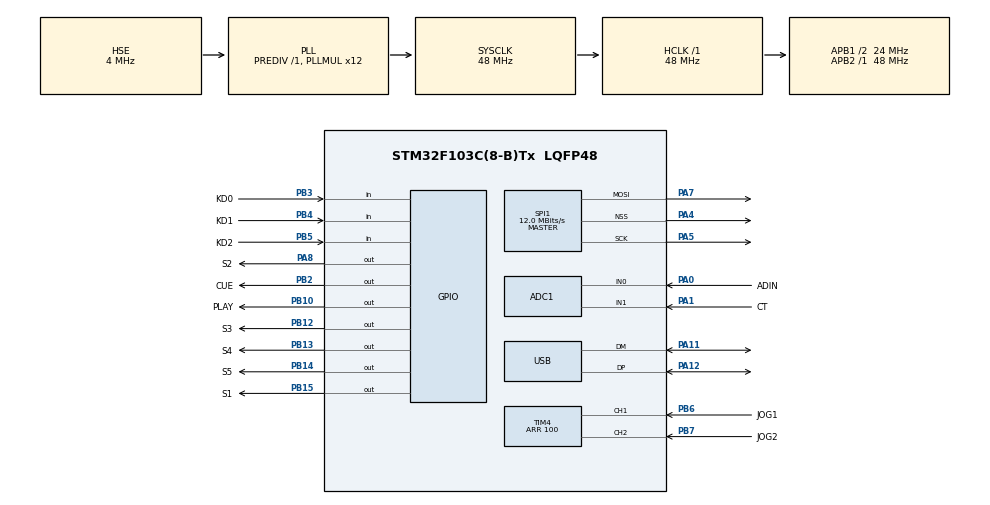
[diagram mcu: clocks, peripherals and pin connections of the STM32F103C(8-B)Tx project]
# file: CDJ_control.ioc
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ADC1.Channel-12\#ChannelRegularConversion=ADC_CHANNEL_0
ADC1.Channel-13\#ChannelRegularConversion=ADC_CHANNEL_1
ADC1.ContinuousConvMode=ENABLE
ADC1.DataAlign=ADC_DATAALIGN_RIGHT
ADC1.DiscontinuousConvMode=DISABLE
ADC1.EnableRegularConversion=ENABLE
ADC1.ExternalTrigConv=ADC_EXTERNALTRIGCONV_T1_CC1
ADC1.InjNumberOfConversion=0
ADC1.NbrOfConversion=2
ADC1.NbrOfConversionFlag=1
ADC1.Rank-12\#ChannelRegularConversion=1
ADC1.Rank-13\#ChannelRegularConversion=2
ADC1.SamplingTime-12\#ChannelRegularConversion=ADC_SAMPLETIME_28CYCLES_5
ADC1.SamplingTime-13\#ChannelRegularConversion=ADC_SAMPLETIME_28CYCLES_5
ADC1.ScanConvMode=ADC_SCAN_ENABLE
ADC1.master=1
Dma.ADC1.0.Direction=DMA_PERIPH_TO_MEMORY
Dma.ADC1.0.Instance=DMA1_Channel1
Dma.ADC1.0.MemDataAlignment=DMA_MDATAALIGN_HALFWORD
Dma.ADC1.0.MemInc=DMA_MINC_ENABLE
Dma.ADC1.0.Mode=DMA_CIRCULAR
Dma.ADC1.0.PeriphDataAlignment=DMA_PDATAALIGN_HALFWORD
Dma.ADC1.0.PeriphInc=DMA_PINC_DISABLE
Dma.ADC1.0.Priority=DMA_PRIORITY_LOW
Dma.Request0=ADC1
Mcu.Family=STM32F1
Mcu.Name=STM32F103C(8-B)Tx
Mcu.Package=LQFP48
NVIC.DMA1_Channel1_IRQn=true\:0\:0\:false\:false\:true\:false
NVIC.PriorityGroup=NVIC_PRIORITYGROUP_4
NVIC.TIM1_CC_IRQn=true\:0\:0\:false\:false\:true\:true
NVIC.TIM4_IRQn=true\:1\:0\:true\:false\:true\:true
NVIC.USB_LP_CAN1_RX0_IRQn=true\:0\:0\:false\:false\:true\:false
PA0-WKUP.GPIO_Label=ADIN
PA0-WKUP.Signal=ADCx_IN0
PA1.GPIO_Label=CT
PA1.Signal=ADCx_IN1
PA11.Mode=Device
PA11.Signal=USB_DM
PA12.Mode=Device
PA12.Signal=USB_DP
PA13.Mode=Serial_Wire
PA13.Signal=SYS_JTMS-SWDIO
PA14.Mode=Serial_Wire
PA14.Signal=SYS_JTCK-SWCLK
PA4.Mode=NSS_Signal_Hard_Output
PA4.Signal=SPI1_NSS
PA5.Mode=TX_Only_Simplex_Unidirect_Master
PA5.Signal=SPI1_SCK
PA7.Mode=TX_Only_Simplex_Unidirect_Master
PA7.Signal=SPI1_MOSI
PA8.GPIO_Label=S2
PA8.Signal=GPIO_Output
PB10.GPIO_Label=PLAY
PB10.Signal=GPIO_Output
PB12.GPIO_Label=S3
PB12.Signal=GPIO_Output
PB13.GPIO_Label=S4
PB13.Signal=GPIO_Output
PB14.GPIO_Label=S5
PB14.Signal=GPIO_Output
PB15.GPIO_Label=S1
PB15.Signal=GPIO_Output
PB2.GPIO_Label=CUE
PB2.Signal=GPIO_Output
PB3.GPIO_Label=KD0
PB3.Signal=GPIO_Input
PB4.GPIO_Label=KD1
PB4.Signal=GPIO_Input
PB5.GPIO_Label=KD2
PB5.Signal=GPIO_Input
PB6.GPIO_Label=JOG1
PB6.Signal=S_TIM4_CH1
PB7.GPIO_Label=JOG2
PB7.Signal=S_TIM4_CH2
PD0-OSC_IN.Mode=HSE-External-Oscillator
PD0-OSC_IN.Signal=RCC_OSC_IN
PD1-OSC_OUT.Mode=HSE-External-Oscillator
PD1-OSC_OUT.Signal=RCC_OSC_OUT
ProjectManager.HeapSize=0x200
ProjectManager.StackSize=0x400
ProjectManager.TargetToolchain=SW4STM32
RCC.ADCPresc=RCC_ADCPCLK2_DIV4
RCC.AHBFreq_Value=48000000
RCC.APB1CLKDivider=RCC_HCLK_DIV2
RCC.APB1Freq_Value=24000000
RCC.APB1TimFreq_Value=48000000
RCC.APB2Freq_Value=48000000
RCC.APB2TimFreq_Value=48000000
RCC.HCLKFreq_Value=48000000
RCC.HSE_VALUE=4000000
RCC.PLLMUL=RCC_PLL_MUL12
RCC.SYSCLKFreq_VALUE=48000000
RCC.SYSCLKSource=RCC_SYSCLKSOURCE_PLLCLK
RCC.USBFreq_Value=48000000
SH.ADCx_IN0.0=ADC1_IN0,IN0
SH.ADCx_IN1.0=ADC1_IN1,IN1
SH.S_TIM4_CH1.0=TIM4_CH1,Encoder_Interface
SH.S_TIM4_CH2.0=TIM4_CH2,Encoder_Interface
SPI1.BaudRatePrescaler=SPI_BAUDRATEPRESCALER_4
SPI1.CLKPolarity=SPI_POLARITY_HIGH
SPI1.CalculateBaudRate=12.0 MBits/s
SPI1.Direction=SPI_DIRECTION_2LINES
SPI1.Mode=SPI_MODE_MASTER
SPI1.VirtualNSS=VM_NSSHARD
SPI1.VirtualType=VM_MASTER
TIM1.Channel-Output\ Compare1\ No\ Output=TIM_CHANNEL_1
TIM1.OCMode_1=TIM_OCMODE_ACTIVE
TIM1.Period=9999
TIM1.Prescaler=47
TIM1.Pulse-Output\ Compare1\ No\ Output=4999
TIM1.TIM_MasterOutputTrigger=TIM_TRGO_OC1REF
TIM4.CounterMode=TIM_COUNTERMODE_UP
TIM4.EncoderMode=TIM_ENCODERMODE_TI12
TIM4.IC1Polarity=TIM_ICPOLARITY_FALLING
TIM4.IC2Polarity=TIM_ICPOLARITY_FALLING
TIM4.Period=100
USB.ep0_mps=DEP0CTL_MPS_8
USB.low_power_enable=DISABLE
USB.lpm_enable=DISABLE
USB_DEVICE.CLASS_NAME_FS=AUDIO
USB_DEVICE.PID_AUDIO_FS=0x5741
USB_DEVICE.PRODUCT_STRING_AUDIO_FS=STM32 USB MIDI
USB_DEVICE.VID=0x482
USB_DEVICE.VirtualMode=Audio
USB_DEVICE.VirtualModeFS=Audio_FS
VP_TIM1_VS_ClockSourceINT.Mode=Internal
VP_TIM1_VS_no_output1.Mode=Output Compare1 No Output
VP_USB_DEVICE_VS_USB_DEVICE_AUDIO_FS.Mode=AUDIO_FS
board=custom

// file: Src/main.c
/* USER CODE BEGIN Header */
/**
  ******************************************************************************
  * @file           : main.c
  * @brief          : Main program body
  ******************************************************************************
  * This notice applies to any and all portions of this file
  * that are not between comment pairs USER CODE BEGIN and
  * USER CODE END. Other portions of this file, whether
  * inserted by the user or by software development tools
  * are owned by their respective copyright owners.
  *
  * Copyright (c) 2019 STMicroelectronics International N.V.
  * All rights reserved.
  *
  * Redistribution and use in source and binary forms, with or without
  * modification, are permitted, provided that the following conditions are met:
  *
  * 1. Redistribution of source code must retain the above copyright notice,
  *    this list of conditions and the following disclaimer.
  * 2. Redistributions in binary form must reproduce the above copyright notice,
  *    this list of conditions and the following disclaimer in the documentation
  *    and/or other materials provided with the distribution.
  * 3. Neither the name of STMicroelectronics nor the names of other
  *    contributors to this software may be used to endorse or promote products
  *    derived from this software without specific written permission.
  * 4. This software, including modifications and/or derivative works of this
  *    software, must execute solely and exclusively on microcontroller or
  *    microprocessor devices manufactured by or for STMicroelectronics.
  * 5. Redistribution and use of this software other than as permitted under
  *    this license is void and will automatically terminate your rights under
  *    this license.
  *
  * THIS SOFTWARE IS PROVIDED BY STMICROELECTRONICS AND CONTRIBUTORS "AS IS"
  * AND ANY EXPRESS, IMPLIED OR STATUTORY WARRANTIES, INCLUDING, BUT NOT
  * LIMITED TO, THE IMPLIED WARRANTIES OF MERCHANTABILITY, FITNESS FOR A
  * PARTICULAR PURPOSE AND NON-INFRINGEMENT OF THIRD PARTY INTELLECTUAL PROPERTY
  * RIGHTS ARE DISCLAIMED TO THE FULLEST EXTENT PERMITTED BY LAW. IN NO EVENT
  * SHALL STMICROELECTRONICS OR CONTRIBUTORS BE LIABLE FOR ANY DIRECT, INDIRECT,
  * INCIDENTAL, SPECIAL, EXEMPLARY, OR CONSEQUENTIAL DAMAGES (INCLUDING, BUT NOT
  * LIMITED TO, PROCUREMENT OF SUBSTITUTE GOODS OR SERVICES; LOSS OF USE, DATA,
  * OR PROFITS; OR BUSINESS INTERRUPTION) HOWEVER CAUSED AND ON ANY THEORY OF
  * LIABILITY, WHETHER IN CONTRACT, STRICT LIABILITY, OR TORT (INCLUDING
  * NEGLIGENCE OR OTHERWISE) ARISING IN ANY WAY OUT OF THE USE OF THIS SOFTWARE,
  * EVEN IF ADVISED OF THE POSSIBILITY OF SUCH DAMAGE.
  *
  ******************************************************************************
  */
/* USER CODE END Header */

#include "main.h"
#include "adc.h"
#include "dma.h"
#include "spi.h"
#include "tim.h"
#include "usb_device.h"
#include "gpio.h"

/* USER CODE BEGIN Includes */
#include "usbd_midi_if.h"
/* USER CODE END Includes */

/* USER CODE BEGIN PV */
/* Private variables ---------------------------------------------------------*/
uint8_t Hold_On[4] = {0x08, 0x90, 0x40, 0x47};
 uint8_t Hold_Off[4] = {0x08, 0x80, 0x40, 0x47};
 uint8_t Hold = 0;

 uint8_t Time_On[4] = {0x08, 0x90, 0x41, 0x47};
 uint8_t Time_Off[4] = {0x08, 0x80, 0x41, 0x47};
 uint8_t Time = 0;

 uint8_t Eject_On[4] = {0x08, 0x90, 0x42, 0x47};
 uint8_t Eject_Off[4] = {0x08, 0x80, 0x42, 0x47};
 uint8_t Eject = 0;

 uint8_t MasterTempo_On[4] = {0x08, 0x90, 0x43, 0x47};
 uint8_t MasterTempo_Off[4] = {0x08, 0x80, 0x43, 0x47};
 uint8_t MasterTempo = 0;

 uint8_t TrackBack_On[4] = {0x08, 0x90, 0x44, 0x47};
 uint8_t TrackBack_Off[4] = {0x08, 0x80, 0x44, 0x47};
 uint8_t TrackBack = 0;

 uint8_t TrackForward_On[4] = {0x08, 0x90, 0x45, 0x47};
 uint8_t TrackForward_Off[4] = {0x08, 0x80, 0x45, 0x47};
 uint8_t TrackForward = 0;

 uint8_t Jet_On[4] = {0x08, 0x90, 0x46, 0x47};
 uint8_t Jet_Off[4] = {0x08, 0x80, 0x46, 0x47};
 uint8_t Jet = 0;

 uint8_t Zip_On[4] = {0x08, 0x90, 0x47, 0x47};
 uint8_t Zip_Off[4] = {0x08, 0x80, 0x47, 0x47};
 uint8_t Zip = 0;

 uint8_t Wah_On[4] = {0x08, 0x90, 0x48, 0x47};
 uint8_t Wah_Off[4] = {0x08, 0x80, 0x48, 0x47};
 uint8_t Wah = 0;

 uint8_t Play_On[4] = {0x08, 0x90, 0x49, 0x47};
 uint8_t Play_Off[4] = {0x08, 0x80, 0x49, 0x47};
 uint8_t Play = 0;

 uint8_t Cue_On[4] = {0x08, 0x90, 0x4A, 0x47};
 uint8_t Cue_Off[4] = {0x08, 0x80, 0x4A, 0x47};
 uint8_t Cue = 0;

 uint8_t ScanBack_On[4] = {0x08, 0x90, 0x4B, 0x47};
 uint8_t ScanBack_Off[4] = {0x08, 0x80, 0x4B, 0x47};
 uint8_t ScanBack = 0;

 uint8_t ScanForward_On[4] = {0x08, 0x90, 0x4C, 0x47};
 uint8_t ScanForward_Off[4] = {0x08, 0x80, 0x4C, 0x47};
 uint8_t ScanForward = 0;

 uint8_t JogForward[4] = {0x08, 0xB0, 0x24, 0x01};
 uint8_t JogBack[4] = {0x08, 0xB0, 0x24, 0x7F};
 volatile uint8_t Jog = 0;
 volatile uint8_t Pulse = 0;

 uint8_t Pitch[4] = {0x08, 0xE0, 0x00, 0x00};
 uint16_t pitch = 0, pitch_prev = 0;
 uint16_t adc_data[2] = {0};

/* USER CODE END PV */

void SystemClock_Config(void);
/* USER CODE BEGIN PFP */
/* Private function prototypes -----------------------------------------------*/

/* USER CODE END PFP */

int main(void)
{

  /* MCU Configuration--------------------------------------------------------*/

  /* Reset of all peripherals, Initializes the Flash interface and the Systick. */
  HAL_Init();

  /* Configure the system clock */
  SystemClock_Config();

  /* Initialize all configured peripherals */
  MX_GPIO_Init();
  MX_DMA_Init();
  MX_USB_DEVICE_Init();
  MX_ADC1_Init();
  MX_SPI1_Init();
  MX_TIM4_Init();
  MX_TIM1_Init();
  /* USER CODE BEGIN 2 */
  HAL_Delay(1000);
  HAL_ADC_Start_DMA(&hadc1, (uint32_t*)&adc_data, 2);
  HAL_TIM_Base_Start_IT(&htim1);
  HAL_TIM_OC_Start_IT(&htim1, TIM_CHANNEL_1);
  HAL_TIM_Encoder_Start_IT(&htim4, TIM_CHANNEL_1 | TIM_CHANNEL_2);
  /* USER CODE END 2 */

  /* Infinite loop */
  /* USER CODE BEGIN WHILE */
  while (1)
  {
	  HAL_GPIO_WritePin(S1_GPIO_Port, S1_Pin, GPIO_PIN_SET);
	  if(HAL_GPIO_ReadPin(KD0_GPIO_Port, KD0_Pin) == GPIO_PIN_SET) {
		  if(Hold == 0) {
			  Hold = 1;
			  MIDI_DataTx(Hold_On, 4);
		  }
	  }
	  else {
		  if(Hold == 1) {
			  Hold = 0;
			  MIDI_DataTx(Hold_Off, 4);
		  }
	  }
	  if(HAL_GPIO_ReadPin(KD1_GPIO_Port, KD1_Pin) == GPIO_PIN_SET) {
		  if(TrackBack == 0) {
			  TrackBack = 1;
			  MIDI_DataTx(TrackBack_On, 4);
		  }
	  }
	  else {
		  if(TrackBack == 1) {
			  TrackBack = 0;
			  MIDI_DataTx(TrackBack_Off, 4);
		  }
	  }
	  if(HAL_GPIO_ReadPin(KD2_GPIO_Port, KD2_Pin) == GPIO_PIN_SET) {
		  if(Play == 0) {
			  Play = 1;
			  MIDI_DataTx(Play_On, 4);
		  }
	  }
	  else {
		  if(Play == 1) {
			  Play = 0;
			  MIDI_DataTx(Play_Off, 4);
		  }
	  }
	  HAL_GPIO_WritePin(S1_GPIO_Port, S1_Pin, GPIO_PIN_RESET);
	  HAL_GPIO_WritePin(S2_GPIO_Port, S2_Pin, GPIO_PIN_SET);
	  if(HAL_GPIO_ReadPin(KD0_GPIO_Port, KD0_Pin) == GPIO_PIN_SET) {
		  if(Time == 0) {
			  Time = 1;
			  MIDI_DataTx(Time_On, 4);
		  }
	  }
	  else {
		  if(Time == 1) {
			  Time = 0;
			  MIDI_DataTx(Time_Off, 4);
		  }
	  }
	  if(HAL_GPIO_ReadPin(KD1_GPIO_Port, KD1_Pin) == GPIO_PIN_SET) {
		  if(TrackForward == 0) {
			  TrackForward = 1;
			  MIDI_DataTx(TrackForward_On, 4);
		  }
	  }
	  else {
		  if(TrackForward == 1) {
			  TrackForward = 0;
			  MIDI_DataTx(TrackForward_Off, 4);
		  }
	  }
	  if(HAL_GPIO_ReadPin(KD2_GPIO_Port, KD2_Pin) == GPIO_PIN_SET) {
		  if(Cue == 0) {
			  Cue = 1;
			  MIDI_DataTx(Cue_On, 4);
		  }
	  }
	  else {
		  if(Cue == 1) {
			  Cue = 0;
			  MIDI_DataTx(Cue_Off, 4);
		  }
	  }
	  HAL_GPIO_WritePin(S2_GPIO_Port, S2_Pin, GPIO_PIN_RESET);
	  HAL_GPIO_WritePin(S3_GPIO_Port, S3_Pin, GPIO_PIN_SET);
	  if(HAL_GPIO_ReadPin(KD0_GPIO_Port, KD0_Pin) == GPIO_PIN_SET) {
		  if(Eject == 0) {
			  Eject = 1;
			  MIDI_DataTx(Eject_On, 4);
		  }
	  }
	  else {
		  if(Eject == 1) {
			  Eject = 0;
			  MIDI_DataTx(Eject_Off, 4);
		  }
	  }
	  if(HAL_GPIO_ReadPin(KD1_GPIO_Port, KD1_Pin) == GPIO_PIN_SET) {
		  if(Jet == 0) {
			  Jet = 1;
			  MIDI_DataTx(Jet_On, 4);
		  }
	  }
	  else {
		  if(Jet == 1) {
			  Jet = 0;
			  MIDI_DataTx(Jet_Off, 4);
		  }
	  }
	  if(HAL_GPIO_ReadPin(KD2_GPIO_Port, KD2_Pin) == GPIO_PIN_SET) {
		  if(ScanBack == 0) {
			  ScanBack = 1;
			  MIDI_DataTx(ScanBack_On, 4);
		  }
	  }
	  else {
		  if(ScanBack == 1) {
			  ScanBack = 0;
			  MIDI_DataTx(ScanBack_Off, 4);
		  }
	  }
	  HAL_GPIO_WritePin(S3_GPIO_Port, S3_Pin, GPIO_PIN_RESET);
	  HAL_GPIO_WritePin(S4_GPIO_Port, S4_Pin, GPIO_PIN_SET);
	  if(HAL_GPIO_ReadPin(KD0_GPIO_Port, KD0_Pin) == GPIO_PIN_SET) {
		  if(MasterTempo == 0) {
			  MasterTempo = 1;
			  MIDI_DataTx(MasterTempo_On, 4);
		  }
	  }
	  else {
		  if(MasterTempo == 1) {
			  MasterTempo = 0;
			  MIDI_DataTx(MasterTempo_Off, 4);
		  }
	  }
	  if(HAL_GPIO_ReadPin(KD1_GPIO_Port, KD1_Pin) == GPIO_PIN_SET) {
		  if(Zip == 0) {
			  Zip = 1;
			  MIDI_DataTx(Zip_On, 4);
		  }
	  }
	  else {
		  if(Zip == 1) {
			  Zip = 0;
			  MIDI_DataTx(Zip_Off, 4);
		  }
	  }
	  if(HAL_GPIO_ReadPin(KD2_GPIO_Port, KD2_Pin) == GPIO_PIN_SET) {
		  if(ScanForward == 0) {
			  ScanForward = 1;
			  MIDI_DataTx(ScanForward_On, 4);
		  }
	  }
	  else {
		  if(ScanForward == 1) {
			  ScanForward = 0;
			  MIDI_DataTx(ScanForward_Off, 4);
		  }
	  }
	  HAL_GPIO_WritePin(S4_GPIO_Port, S4_Pin, GPIO_PIN_RESET);
	  HAL_GPIO_WritePin(S5_GPIO_Port, S5_Pin, GPIO_PIN_SET);
	  if(HAL_GPIO_ReadPin(KD1_GPIO_Port, KD1_Pin) == GPIO_PIN_SET) {
		  if(Wah == 0) {
			  Wah = 1;
			  MIDI_DataTx(Wah_On, 4);
		  }
	  }
	  else {
		  if(Wah == 1) {
			  Wah = 0;
			  MIDI_DataTx(Wah_Off, 4);
		  }
	  }
	  HAL_GPIO_WritePin(S5_GPIO_Port, S5_Pin, GPIO_PIN_RESET);
	  if(Pulse > 0) {
		  if(__HAL_TIM_IS_TIM_COUNTING_DOWN(&htim4) == 0) {
			  	  MIDI_DataTx(JogBack, 4);
		  }
		  else {
			    MIDI_DataTx(JogForward, 4);
		  }
		  Pulse--;
	  }
	  uint16_t pitch = 0x2000 * adc_data[0] / adc_data[1];
	  if(abs(pitch - pitch_prev) > 100) {
		  Pitch[2] = pitch % 128;
		  Pitch[3] = pitch / 128;
		  MIDI_DataTx(Pitch, 4);
		  pitch_prev = pitch;
	  }
	  HAL_Delay(10);
    /* USER CODE END WHILE */

  }
}

void SystemClock_Config(void)
{
  RCC_OscInitTypeDef RCC_OscInitStruct = {0};
  RCC_ClkInitTypeDef RCC_ClkInitStruct = {0};
  RCC_PeriphCLKInitTypeDef PeriphClkInit = {0};

  /**Initializes the CPU, AHB and APB busses clocks
  */
  RCC_OscInitStruct.OscillatorType = RCC_OSCILLATORTYPE_HSE;
  RCC_OscInitStruct.HSEState = RCC_HSE_ON;
  RCC_OscInitStruct.HSEPredivValue = RCC_HSE_PREDIV_DIV1;
  RCC_OscInitStruct.HSIState = RCC_HSI_ON;
  RCC_OscInitStruct.PLL.PLLState = RCC_PLL_ON;
  RCC_OscInitStruct.PLL.PLLSource = RCC_PLLSOURCE_HSE;
  RCC_OscInitStruct.PLL.PLLMUL = RCC_PLL_MUL12;
  if (HAL_RCC_OscConfig(&RCC_OscInitStruct) != HAL_OK)
  {
    Error_Handler();
  }
  /**Initializes the CPU, AHB and APB busses clocks
  */
  RCC_ClkInitStruct.ClockType = RCC_CLOCKTYPE_HCLK|RCC_CLOCKTYPE_SYSCLK
                              |RCC_CLOCKTYPE_PCLK1|RCC_CLOCKTYPE_PCLK2;
  RCC_ClkInitStruct.SYSCLKSource = RCC_SYSCLKSOURCE_PLLCLK;
  RCC_ClkInitStruct.AHBCLKDivider = RCC_SYSCLK_DIV1;
  RCC_ClkInitStruct.APB1CLKDivider = RCC_HCLK_DIV2;
  RCC_ClkInitStruct.APB2CLKDivider = RCC_HCLK_DIV1;

  if (HAL_RCC_ClockConfig(&RCC_ClkInitStruct, FLASH_LATENCY_1) != HAL_OK)
  {
    Error_Handler();
  }
  PeriphClkInit.PeriphClockSelection = RCC_PERIPHCLK_ADC|RCC_PERIPHCLK_USB;
  PeriphClkInit.AdcClockSelection = RCC_ADCPCLK2_DIV4;
  PeriphClkInit.UsbClockSelection = RCC_USBCLKSOURCE_PLL;
  if (HAL_RCCEx_PeriphCLKConfig(&PeriphClkInit) != HAL_OK)
  {
    Error_Handler();
  }
}

void Error_Handler(void)
{
  while(1)
  {
  }
}

/************************ (C) COPYRIGHT STMicroelectronics *****END OF FILE****/
